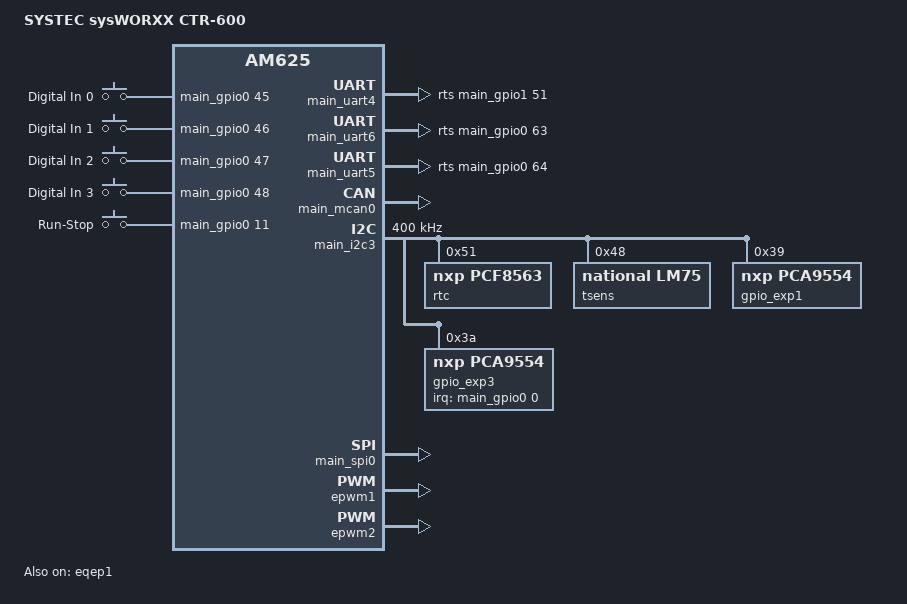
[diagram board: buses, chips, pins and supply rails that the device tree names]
/*
 * Copyright (C) 2023 SYSTEC electronic AG, All Rights Reserved
 *
 * This program is free software; you can redistribute it and/or modify
 * it under the terms of the GNU General Public License version 2 as
 * published by the Free Software Foundation.
 */
/dts-v1/;

#include <dt-bindings/input/input.h>

#include "k3-am625.dtsi"
#include "k3-am623-systec-ctr600-pinmux-0.dtsi"
#include "k3-am623-systec-ctr-common.dtsi"

/ {
	model = "SYSTEC sysWORXX CTR-600";
	compatible = "systec,ctr600,rev0", "systec,ctr600", "ti,am625";

	aliases {
		// serial0 = &mcu_uart0;
		// serial2 = &main_uart0;
		serial4 = &main_uart4;
		serial5 = &main_uart5;
		serial6 = &main_uart6;
		rtc0 = &rtc;
		rtc1 = &wkup_rtc0;
	};
};

// SERIAL0
&main_uart4 {
	pinctrl-names = "default";
	pinctrl-0 = <&uart4_serial0_pins_default>;
	status = "okay";
	rts-gpios = <&main_gpio1 51 GPIO_ACTIVE_HIGH>;
	sermode-gpio = <&gpio_exp1 0 GPIO_ACTIVE_HIGH>;
	systec,rs485-half-duplex-stop-rx;
};

// SERIAL1 (SERIAL2 on CTR-800)
&main_uart6 {
	pinctrl-names = "default";
	pinctrl-0 = <&uart6_serial1_pins_default>;
	status = "okay";
	rts-gpios = <&main_gpio0 63 GPIO_ACTIVE_HIGH>;
	sermode-gpio = <&gpio_exp1 2 GPIO_ACTIVE_HIGH>;
	systec,rs485-half-duplex-stop-rx;
};

// Backplane / NINA-B112
&main_uart5 {
	pinctrl-names = "default";
	pinctrl-0 = <&uart5_backplane_pins_default>;
	status = "okay";
	rts-gpios = <&main_gpio0 64 GPIO_ACTIVE_HIGH>;
};

// CAN0
&main_mcan0 {
	pinctrl-names = "default";
	pinctrl-0 = <&mcan0_pins_default>;
	status = "okay";
};

// CAN1
&mcu_mcan0 {
	pinctrl-names = "default";
	pinctrl-0 = <&mcumcan0_pins_default>;
	status = "disabled"; // only usable via placement option on PCB
};

// I2C3_BOARD
&main_i2c3 {
	status = "okay";
	pinctrl-names = "default";
	pinctrl-0 = <&i2c3board_pins_default>;
	clock-frequency = <400000>;

	/* RTC */
	rtc: pcf8563@51 {
		compatible = "nxp,pcf8563";
		reg = <0x51>;
	};

	/* Temperature sensor */
	tsens: lm75b@48 {
		compatible = "national,lm75";
		reg = <0x48>;
	};

	/* I/O expander for RS232/485 switching and DI filter configuration */
	gpio_exp1: pca9554@39 {
		compatible = "nxp,pca9554";
		reg = <0x39>;
		gpio-controller;
		#gpio-cells = <2>;
		gpio-line-names =
			"SER0_MODE", "", "SER1_MODE", "",
			"",          "", "",          "";
	};

	/* I/O expander for diagnose */
	gpio_exp3: pca9554@3a {
		compatible = "nxp,pca9554";
		reg = <0x3a>;
		gpio-controller;
		#gpio-cells = <2>;
		gpio-line-names =
			"", "DO_DIAG", "/DI_ERR", "USB1_OC",
			"",       "",        "",        "";
		interrupt-controller;
		#interrupt-cells = <2>;
		interrupt-parent = <&main_gpio0>;
		interrupts = <0 IRQ_TYPE_EDGE_FALLING>;
	};
};

&main_spi0 {
	status = "okay";
	pinctrl-names = "default";
	pinctrl-0 = <&spi0_pins_default>;
	#address-cells = <1>;
	#size-cells = <0>;
	cs-gpios = <&main_gpio0 7 GPIO_ACTIVE_LOW>;

	// spidev@0 {
	// 	spi-max-frequency = <1000000>;
	// 	reg = <0>;
	// };
};

&epwm1 {
	pinctrl-names = "default";
	pinctrl-0 = <&pwm1do2_pins_default>;
	status = "okay";
};

&epwm2 {
	pinctrl-names = "default";
	pinctrl-0 = <&pwm2do3_pins_default>;
	status = "okay";
};

&eqep1 {
	pinctrl-names = "default";
	pinctrl-0 = <&eqep0di2di3_pins_default>;
	status = "okay";
};

&main_gpio0 {
	pinctrl-names = "default";
	pinctrl-0 = <&gpio0_pins_default>;
	gpio-line-names      =
		"/COM_DIAG_INT", "",         "",        "",              // 0
		"",              "LED_RUN",  "LED_ERR", "SPI2_SS",       // 4
		"",              "",         "",        "RUN_SW",        // 8
		"/BOOT",         "",         "",        "",              // 12
		"",              "",         "",        "DO_0",          // 16
		"DO_1",          "",         "",        "",              // 20
		"",              "",         "",        "",              // 24
		"",              "",         "",        "",              // 28
		"",              "",         "",        "",              // 32
		"",              "",         "",        "",              // 36
		"",              "",         "",        "/PF",           // 40
		"",              "DI_0",     "DI_1",    "DI_2",          // 44
		"DI_3",          "SER0_RX",  "SER0_TX", "",              // 48
		"",              "SER1_RX",  "SER1_TX", "",              // 52
		"",              "",         "",        "",              // 56
		"",              "",         "/CONFIG", "SER1_DEN",      // 60
		"",              "",         "",        "",              // 64
		"",              "",         "",        "WLAN_/DISABLE", // 68
		"BT_REG_ON",     "",         "",        "",              // 72
		"",              "",         "",        "",              // 76
		"",              "",         "",        "",              // 80
		"",              "ETH_MDIO", "ETH_MDC", "",              // 84
		"",              "",         "",        "";              // 88
};

&main_gpio1 {
	pinctrl-names = "default";
	pinctrl-0 = <&gpio1_pins_default>;
	gpio-line-names =
		"",            "",           "",               "",               // 0
		"",            "",           "",               "",               // 4
		"",            "DO_2_PWM",   "eMMC_/RST",      "DI_2_PHA_A",     // 8
		"DI_3_PHA_B",  "",           "",               "ETH0_/RST",      // 12
		"",            "SPI0_SCLK",  "SPI0_MOSI",      "SPI0_MISO",      // 16
		"SERVICE_RX",  "SERVICE_TX", "I2C3_BOARD_SCL", "I2C3_BOARD_SDA", // 20
		"MCAN0_TX",    "MCAN0_RX",   "I2C0_SOM_SCL",   "I2C0_SOM_SDA",   // 24
		"DO_3_PWM",    "ETH1_/RST",  "",               "",               // 28
		"",            "",           "",               "",               // 32
		"",            "",           "",               "",               // 36
		"",            "",           "",               "",               // 40
		"",            "",           "",               "",               // 44
		"",            "",           "USB0_DRVVBUS",   "USB1_DRVVBUS",   // 48
		"",            "",           "",               "",               // 52
		"",            "",           "",               "",               // 56
		"",            "",           "",               "",               // 60
		"",            "",           "",               "",               // 64
		"",            "",           "",               "",               // 68
		"",            "",           "",               "",               // 72
		"",            "",           "",               "",               // 76
		"",            "",           "",               "",               // 80
		"",            "",           "",               "",               // 84
		"",            "",           "",               "";               // 88
};

&mcu_gpio0 {
	pinctrl-names = "default";
	gpio-line-names =
		"",       "",             "",             "",       // 0
		"",       "BT_RX",        "BT_TX",        "BT_CTS", // 4
		"BT_RTS", "",             "",             "",       // 8
		"",       "MCU_MCAN0_TX", "MCU_MCAN0_RX", "",       // 12
		"",       "",             "",             "",       // 16
		"",       "",             "",             "";       // 20
};

/ {
	gpio_input {
		compatible = "gpio-keys";
		status = "okay";

		di@0 { label = "Digital In 0"; linux,code = <KEY_F1>; gpios = <&main_gpio0 45 GPIO_ACTIVE_HIGH>; };
		di@1 { label = "Digital In 1"; linux,code = <KEY_F2>; gpios = <&main_gpio0 46 GPIO_ACTIVE_HIGH>; };
		di@2 { label = "Digital In 2"; linux,code = <KEY_F3>; gpios = <&main_gpio0 47 GPIO_ACTIVE_HIGH>; };
		di@3 { label = "Digital In 3"; linux,code = <KEY_F4>; gpios = <&main_gpio0 48 GPIO_ACTIVE_HIGH>; };
		runstop { label = "Run-Stop";  linux,code = <KEY_1>;  gpios = <&main_gpio0 11 GPIO_ACTIVE_HIGH>; };
	};
};
